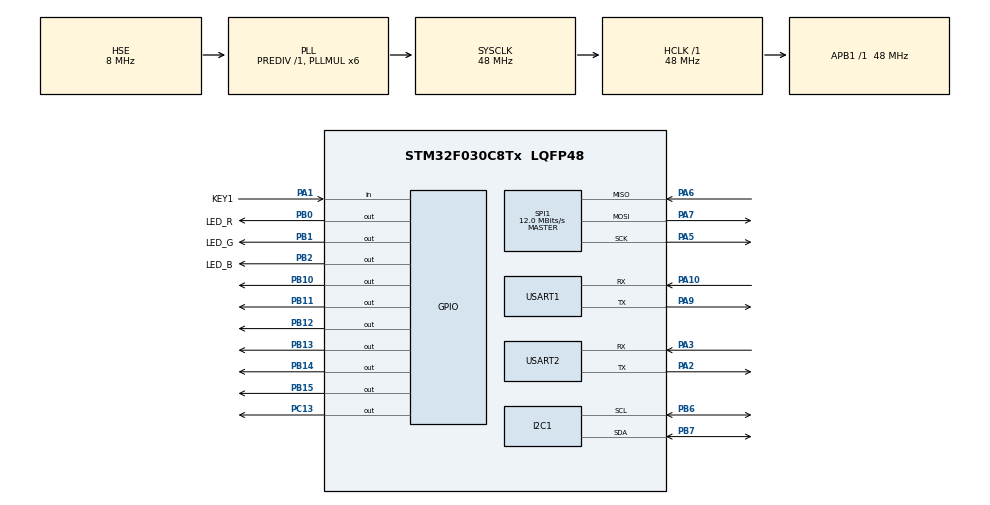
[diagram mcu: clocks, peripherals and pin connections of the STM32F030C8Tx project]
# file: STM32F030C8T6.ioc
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I2C1.Timing=0x00201D2B
Mcu.Family=STM32F0
Mcu.Name=STM32F030C8Tx
Mcu.Package=LQFP48
NVIC.TIM3_IRQn=true\:0\:0\:false\:false\:true\:true\:true\:true
PA1.GPIO_Label=KEY1
PA1.Signal=GPIO_Input
PA10.Mode=Asynchronous
PA10.Signal=USART1_RX
PA2.Mode=Asynchronous
PA2.Signal=USART2_TX
PA3.Mode=Asynchronous
PA3.Signal=USART2_RX
PA5.Mode=Full_Duplex_Master
PA5.Signal=SPI1_SCK
PA6.Mode=Full_Duplex_Master
PA6.Signal=SPI1_MISO
PA7.Mode=Full_Duplex_Master
PA7.Signal=SPI1_MOSI
PA9.Mode=Asynchronous
PA9.Signal=USART1_TX
PB0.GPIO_Label=LED_R
PB0.GPIO_Speed=GPIO_SPEED_FREQ_MEDIUM
PB0.Signal=GPIO_Output
PB1.GPIO_Label=LED_G
PB1.GPIO_Speed=GPIO_SPEED_FREQ_MEDIUM
PB1.Signal=GPIO_Output
PB10.GPIO_Speed=GPIO_SPEED_FREQ_MEDIUM
PB10.Signal=GPIO_Output
PB11.GPIO_Speed=GPIO_SPEED_FREQ_MEDIUM
PB11.Signal=GPIO_Output
PB12.GPIO_Speed=GPIO_SPEED_FREQ_MEDIUM
PB12.Signal=GPIO_Output
PB13.GPIO_Speed=GPIO_SPEED_FREQ_MEDIUM
PB13.Signal=GPIO_Output
PB14.GPIO_Speed=GPIO_SPEED_FREQ_MEDIUM
PB14.Signal=GPIO_Output
PB15.GPIO_Speed=GPIO_SPEED_FREQ_MEDIUM
PB15.Signal=GPIO_Output
PB2.GPIO_Label=LED_B
PB2.GPIO_Speed=GPIO_SPEED_FREQ_MEDIUM
PB2.Signal=GPIO_Output
PB6.Mode=I2C
PB6.Signal=I2C1_SCL
PB7.Mode=I2C
PB7.Signal=I2C1_SDA
PC13.Signal=GPIO_Output
PF0-OSC_IN.Mode=HSE-External-Oscillator
PF0-OSC_IN.Signal=RCC_OSC_IN
PF1-OSC_OUT.Mode=HSE-External-Oscillator
PF1-OSC_OUT.Signal=RCC_OSC_OUT
ProjectManager.HeapSize=0x200
ProjectManager.StackSize=0x400
ProjectManager.TargetToolchain=CMake
RCC.AHBFreq_Value=48000000
RCC.APB1Freq_Value=48000000
RCC.APB1TimFreq_Value=48000000
RCC.HCLKFreq_Value=48000000
RCC.PLLMUL=RCC_PLL_MUL6
RCC.PLLSourceVirtual=RCC_PLLSOURCE_HSE
RCC.SYSCLKFreq_VALUE=48000000
RCC.SYSCLKSource=RCC_SYSCLKSOURCE_PLLCLK
SPI1.BaudRatePrescaler=SPI_BAUDRATEPRESCALER_4
SPI1.CalculateBaudRate=12.0 MBits/s
SPI1.Direction=SPI_DIRECTION_2LINES
SPI1.Mode=SPI_MODE_MASTER
SPI1.VirtualType=VM_MASTER
TIM3.AutoReloadPreload=TIM_AUTORELOAD_PRELOAD_ENABLE
TIM3.Period=1000-1
TIM3.Prescaler=48-1
USART1.VirtualMode-Asynchronous=VM_ASYNC
USART2.VirtualMode-Asynchronous=VM_ASYNC
VP_TIM1_VS_ClockSourceINT.Mode=Internal
VP_TIM3_VS_ClockSourceINT.Mode=Internal
board=custom

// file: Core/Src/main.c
/* USER CODE BEGIN Header */
/**
 ******************************************************************************
 * @file           : 使用stm32f030c8t6作为主控
 * @brief          : main.c主程序入口
 ******************************************************************************
 * @attention
 *
 * Copyright (c) 2025 STMicroelectronics.
 * All rights reserved.
 *
 * This software is licensed under terms that can be found in the LICENSE file
 * in the root directory of this software component.
 * If no LICENSE file comes with this software, it is provided AS-IS.
 *
 ******************************************************************************
 */
/* USER CODE END Header */
#include "main.h"
#include "i2c.h"
#include "spi.h"
#include "tim.h"
#include "usart.h"
#include "gpio.h"

/* USER CODE BEGIN Includes */
#include <stdio.h>
#include "k210.h"
#include "LED.h"
#include "send.h"
#include "boot_wav.H"
#include "key.h"
#include "my_test.h"

/* USER CODE END Includes */

void SystemClock_Config(void);

int main(void)
{

  /* MCU Configuration--------------------------------------------------------*/

  /* Reset of all peripherals, Initializes the Flash interface and the Systick. */
  HAL_Init();

  /* Configure the system clock */
  SystemClock_Config();

  /* Initialize all configured peripherals */
  MX_GPIO_Init();
  MX_TIM3_Init();
  MX_TIM1_Init();
  MX_I2C1_Init();
  MX_USART1_UART_Init();
  MX_USART2_UART_Init();
  MX_SPI1_Init();
  /* USER CODE BEGIN 2 */
  printf("test finished:", mytest(1, 2), " is 3, right?");
  printf("KEY1 now is:", pressed);
  /* USER CODE END 2 */

  /* Infinite loop */
  /* USER CODE BEGIN WHILE */
  while (1)
  {
    led(1);
    HAL_Delay(1000);

    printf("now is normal!");

    if (k210_stat == 1)
    {
      led(4);
      send(01); // 此处需要手动输入发送的data
      printf(k210_msg.alert, "now LED mode is:", LED_mode);
    }
    else if (pressed == 1)
    {
      led(4);
      send(02); // 此处需要手动输入发送的data
      printf("KEY1 now is:", pressed);
    }

    // TODO: send a bytearray to STM32F401RCT6
  }
    /* USER CODE END WHILE */

}

void SystemClock_Config(void)
{
  RCC_OscInitTypeDef RCC_OscInitStruct = {0};
  RCC_ClkInitTypeDef RCC_ClkInitStruct = {0};
  RCC_PeriphCLKInitTypeDef PeriphClkInit = {0};

  /** Initializes the RCC Oscillators according to the specified parameters
  * in the RCC_OscInitTypeDef structure.
  */
  RCC_OscInitStruct.OscillatorType = RCC_OSCILLATORTYPE_HSI|RCC_OSCILLATORTYPE_HSE;
  RCC_OscInitStruct.HSEState = RCC_HSE_ON;
  RCC_OscInitStruct.HSIState = RCC_HSI_ON;
  RCC_OscInitStruct.HSICalibrationValue = RCC_HSICALIBRATION_DEFAULT;
  RCC_OscInitStruct.PLL.PLLState = RCC_PLL_ON;
  RCC_OscInitStruct.PLL.PLLSource = RCC_PLLSOURCE_HSE;
  RCC_OscInitStruct.PLL.PLLMUL = RCC_PLL_MUL6;
  RCC_OscInitStruct.PLL.PREDIV = RCC_PREDIV_DIV1;
  if (HAL_RCC_OscConfig(&RCC_OscInitStruct) != HAL_OK)
  {
    Error_Handler();
  }

  /** Initializes the CPU, AHB and APB buses clocks
  */
  RCC_ClkInitStruct.ClockType = RCC_CLOCKTYPE_HCLK|RCC_CLOCKTYPE_SYSCLK
                              |RCC_CLOCKTYPE_PCLK1;
  RCC_ClkInitStruct.SYSCLKSource = RCC_SYSCLKSOURCE_PLLCLK;
  RCC_ClkInitStruct.AHBCLKDivider = RCC_SYSCLK_DIV1;
  RCC_ClkInitStruct.APB1CLKDivider = RCC_HCLK_DIV1;

  if (HAL_RCC_ClockConfig(&RCC_ClkInitStruct, FLASH_LATENCY_1) != HAL_OK)
  {
    Error_Handler();
  }
  PeriphClkInit.PeriphClockSelection = RCC_PERIPHCLK_USART1|RCC_PERIPHCLK_I2C1;
  PeriphClkInit.Usart1ClockSelection = RCC_USART1CLKSOURCE_PCLK1;
  PeriphClkInit.I2c1ClockSelection = RCC_I2C1CLKSOURCE_HSI;
  if (HAL_RCCEx_PeriphCLKConfig(&PeriphClkInit) != HAL_OK)
  {
    Error_Handler();
  }
}

void Error_Handler(void)
{
  __disable_irq();
  while (1)
  {
  }
}
